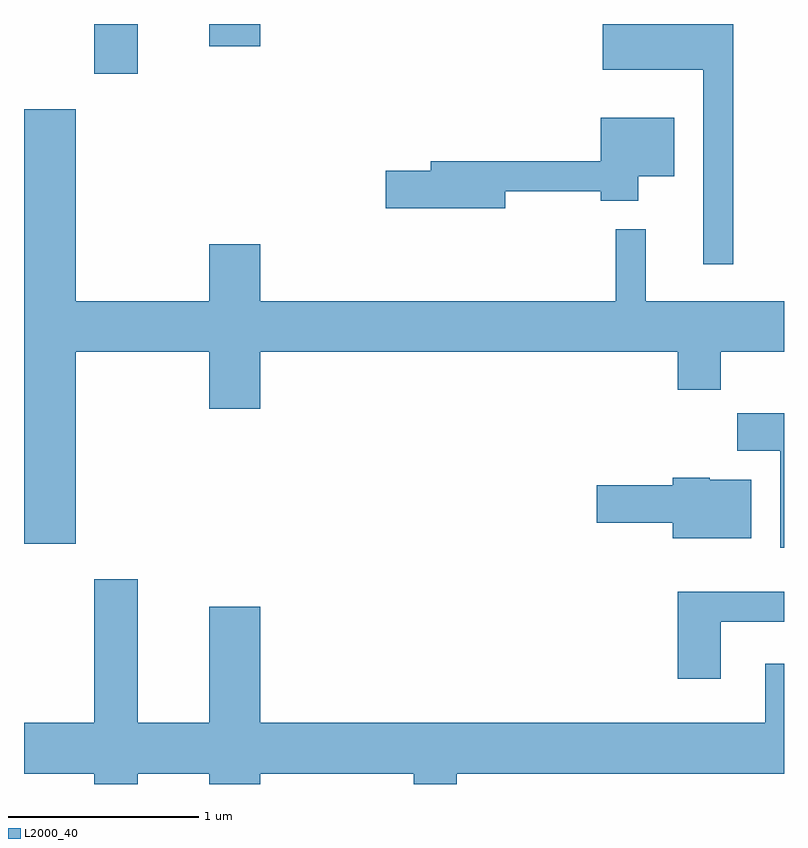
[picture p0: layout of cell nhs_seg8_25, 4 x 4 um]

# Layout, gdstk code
import gdstk
lib = gdstk.Library(unit=1e-6, precision=1e-09)
def R(c, l, rs):  # rectangles x0, y0, x1, y1
    for r in rs: c.add(gdstk.rectangle(r[:2], r[2:], *l))
def P(c, l, *ps):  # polygons
    for p in ps: c.add(gdstk.Polygon(p, *l))
L2000_40 = (2000, 40)

nhs_seg8_25 = lib.new_cell('nhs_seg8_25')
R(nhs_seg8_25, L2000_40, [(185.981,1860.081,186.209,1860.342), (186.586,1860.226,186.854,1860.342)])
P(nhs_seg8_25, L2000_40, [(189.344,1860.342),(188.656,1860.342),(188.656,1860.101),(189.186,1860.101),(189.186,1859.078),(189.344,1859.078)],
  [(185.884,1858.616),(186.586,1858.616),(186.586,1858.316),(186.854,1858.316),(186.854,1858.616),(189.051,1858.616),(189.051,1858.416),(189.279,1858.416),(189.279,1858.616),(189.611,1858.616),(189.611,1858.884),(188.884,1858.884),(188.884,1859.263),(188.726,1859.263),(188.726,1858.884),(186.854,1858.884),(186.854,1859.184),(186.586,1859.184),(186.586,1858.884),(185.884,1858.884),(185.884,1859.894),(185.611,1859.894),(185.611,1857.606),(185.884,1857.606)],
  [(188.144,1859.461),(188.646,1859.461),(188.646,1859.411),(188.844,1859.411),(188.844,1859.541),(189.034,1859.541),(189.034,1859.849),(188.646,1859.849),(188.646,1859.619),(187.751,1859.619),(187.751,1859.569),(187.516,1859.569),(187.516,1859.371),(188.144,1859.371)],
  [(189.611,1858.294),(189.366,1858.294),(189.366,1858.096),(189.591,1858.096),(189.591,1857.586),(189.611,1857.586)],
  [(189.439,1857.944),(189.22,1857.944),(189.22,1857.954),(189.026,1857.954),(189.026,1857.914),(188.626,1857.914),(188.626,1857.716),(189.026,1857.716),(189.026,1857.636),(189.439,1857.636)],
  [(186.209,1856.396),(186.586,1856.396),(186.586,1856.342),(186.854,1856.342),(186.854,1856.396),(187.661,1856.396),(187.661,1856.342),(187.889,1856.342),(187.889,1856.396),(189.611,1856.396),(189.611,1856.974),(189.511,1856.974),(189.511,1856.664),(186.854,1856.664),(186.854,1857.274),(186.586,1857.274),(186.586,1856.664),(186.209,1856.664),(186.209,1857.419),(185.981,1857.419),(185.981,1856.664),(185.611,1856.664),(185.611,1856.396),(185.981,1856.396),(185.981,1856.342),(186.209,1856.342)],
  [(189.279,1857.196),(189.611,1857.196),(189.611,1857.354),(189.051,1857.354),(189.051,1856.896),(189.279,1856.896)])

lib.write_gds('nhs_seg8_25.gds')
